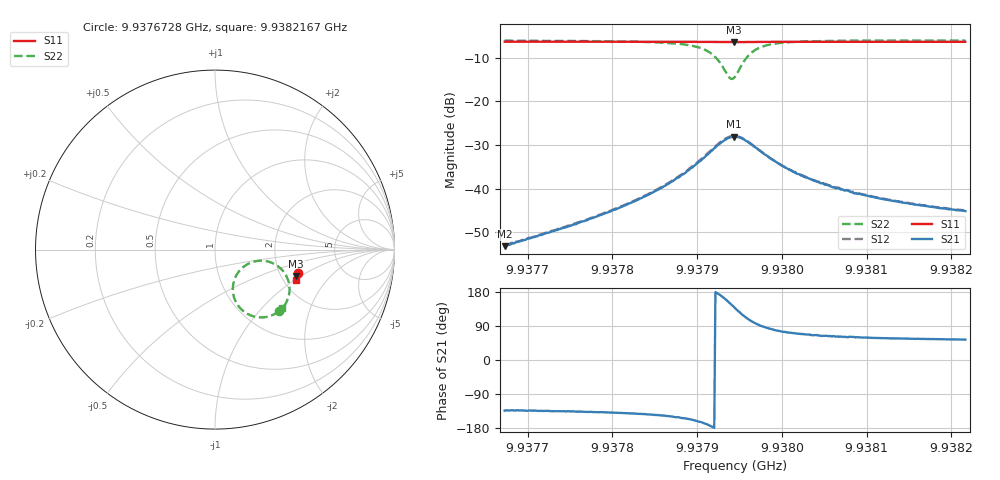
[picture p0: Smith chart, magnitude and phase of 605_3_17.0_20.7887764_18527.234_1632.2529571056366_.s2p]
#  HZ  S  RI  R  50.00
! Rohde & Schwarz Vector Network Analyzer
! Rohde-Schwarz,ZNB20-2Port,1311601062101988,3.16
! Created: UTC 3/20/2024, 11:19:12 PM
! freq[Hz]  re:S11  im:S11  re:S21  im:S21  re:S12  im:S12  re:S22  im:S22
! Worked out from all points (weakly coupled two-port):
!   401 points, 9.9376728 GHz to 9.9382167 GHz, reference 50 ohm
!   highest |S21| = -28.08 dB at 9.9379434 GHz (marker M1); lowest = -53.2 dB at 9.9376728 GHz (marker M2)
!   lowest |S11| = -6.4 dB at 9.9379434 GHz (marker M3), VSWR 2.82, Z = 120 - j46 ohm
!   |S11| at or under -10 dB: nowhere
!   |S22| runs from -14.9 to -6.1 dB; largest |S21 - S12| = 0.0019
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9.93767284e9  0.4634 -0.1327  -0.00152 -0.00159  -0.00155 -0.00167  0.355 -0.3444
9.93776393e9  0.4611 -0.1391  -0.00304 -0.0029  -0.00311 -0.00289  0.3368 -0.3564
9.93781424e9  0.4596 -0.1425  -0.00493 -0.00413  -0.00505 -0.00408  0.3173 -0.3659
9.93785503e9  0.4583 -0.1452  -0.00817 -0.00559  -0.00843 -0.00557  0.2873 -0.375
9.93788494e9  0.4569 -0.1476  -0.0134 -0.00659  -0.0139 -0.00654  0.2419 -0.3772
9.93790942e9  0.4551 -0.1491  -0.0227 -0.0049  -0.0234 -0.00447  0.1683 -0.3505
9.93792029e9  0.454 -0.1494  -0.0289 -0.000553  -0.0298 0.000239  0.1245 -0.3057
9.93792981e9  0.453 -0.1491  -0.0336 0.0079  -0.0345 0.009  0.0997 -0.2315
9.93793797e9  0.4525 -0.1483  -0.0337 0.0183  -0.0338 0.0201  0.117 -0.1469
9.93794069e9  0.4526 -0.1483  -0.0323 0.0221  -0.0322 0.0237  0.1343 -0.1207
9.93794341e9  0.4527 -0.1479  -0.0303 0.0253  -0.0298 0.027  0.1568 -0.0979
9.93794477e9  0.4528 -0.1478  -0.0288 0.0269  -0.0284 0.0284  0.17 -0.0883
9.93795156e9  0.4534 -0.1475  -0.0209 0.0318  -0.0198 0.0332  0.2416 -0.0626
9.93795972e9  0.4544 -0.1476  -0.0111 0.0327  -0.0102 0.0333  0.3182 -0.0741
9.93796652e9  0.455 -0.1482  -0.0051 0.0305  -0.00401 0.0309  0.3615 -0.1013
9.93797332e9  0.4553 -0.1488  -0.000878 0.0276  -0.000282 0.0276  0.3877 -0.1309
9.93798556e9  0.4556 -0.1502  0.00283 0.0224  0.00359 0.0223  0.4095 -0.1771
9.93800187e9  0.4556 -0.1519  0.0049 0.0174  0.00512 0.0173  0.4154 -0.2197
9.93803586e9  0.4549 -0.1546  0.00531 0.0115  0.00546 0.0115  0.4082 -0.2673
9.93808345e9  0.4537 -0.1581  0.00443 0.00791  0.0048 0.00789  0.3956 -0.2969
9.93812696e9  0.4524 -0.1611  0.004 0.00619  0.00415 0.00623  0.3871 -0.3114
9.9382167e9  0.45 -0.167  0.00326 0.00447  0.00341 0.00451  0.3743 -0.3281
